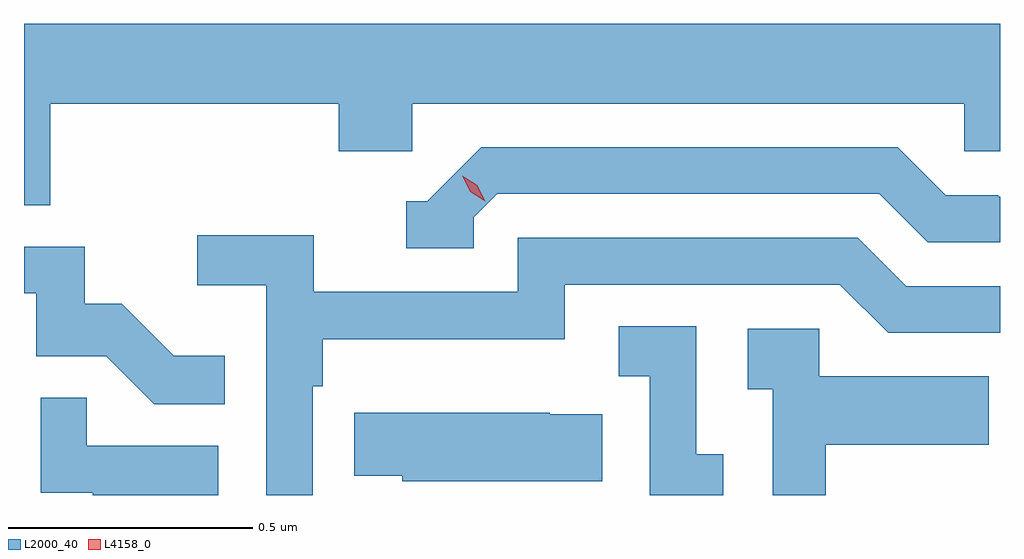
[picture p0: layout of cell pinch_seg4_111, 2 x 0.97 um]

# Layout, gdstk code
import gdstk
lib = gdstk.Library(unit=1e-6, precision=1e-09)
def P(c, l, *ps):  # polygons
    for p in ps: c.add(gdstk.Polygon(p, *l))
L2000_40 = (2000, 40)
L4158_0 = (4158, 0)

pinch_seg4_111 = lib.new_cell('pinch_seg4_111')
P(pinch_seg4_111, L2000_40, [(1077.8,804.812),(1078.391,804.812),(1078.391,804.714),(1078.542,804.714),(1078.542,804.812),(1079.673,804.812),(1079.673,804.714),(1079.746,804.714),(1079.746,804.976),(1077.746,804.976),(1077.746,804.604),(1077.8,804.604)],
  [(1078.668,804.579),(1078.716,804.627),(1079.499,804.627),(1079.598,804.528),(1079.746,804.528),(1079.746,804.621),(1079.742,804.621),(1079.742,804.624),(1079.635,804.624),(1079.536,804.723),(1078.683,804.723),(1078.572,804.612),(1078.529,804.612),(1078.529,804.516),(1078.668,804.516)],
  [(1078.338,804.233),(1078.358,804.233),(1078.358,804.329),(1078.854,804.329),(1078.854,804.441),(1079.418,804.441),(1079.517,804.342),(1079.746,804.342),(1079.746,804.438),(1079.554,804.438),(1079.455,804.537),(1078.758,804.537),(1078.758,804.426),(1078.34,804.426),(1078.34,804.542),(1078.101,804.542),(1078.101,804.44),(1078.242,804.44),(1078.242,804.009),(1078.338,804.009)],
  [(1078.157,804.295),(1078.053,804.295),(1077.946,804.402),(1077.87,804.402),(1077.87,804.519),(1077.746,804.519),(1077.746,804.423),(1077.771,804.423),(1077.771,804.294),(1077.915,804.294),(1078.013,804.196),(1078.157,804.196)],
  [(1079.179,804.093),(1079.124,804.093),(1079.124,804.356),(1078.965,804.356),(1078.965,804.253),(1079.028,804.253),(1079.028,804.009),(1079.179,804.009)],
  [(1079.389,804.113),(1079.723,804.113),(1079.723,804.253),(1079.376,804.253),(1079.376,804.351),(1079.229,804.351),(1079.229,804.227),(1079.28,804.227),(1079.28,804.009),(1079.389,804.009)],
  [(1078.144,804.111),(1077.875,804.111),(1077.875,804.209),(1077.78,804.209),(1077.78,804.015),(1077.887,804.015),(1077.887,804.009),(1078.144,804.009)],
  [(1078.931,804.175),(1078.823,804.175),(1078.823,804.178),(1078.423,804.178),(1078.423,804.049),(1078.521,804.049),(1078.521,804.038),(1078.931,804.038)])
P(pinch_seg4_111, L4158_0, [(1078.691,804.612),(1078.66,804.631),(1078.644,804.664),(1078.644,804.664),(1078.644,804.664),(1078.675,804.645),(1078.691,804.612),(1078.691,804.612)])

lib.write_gds('pinch_seg4_111.gds')
